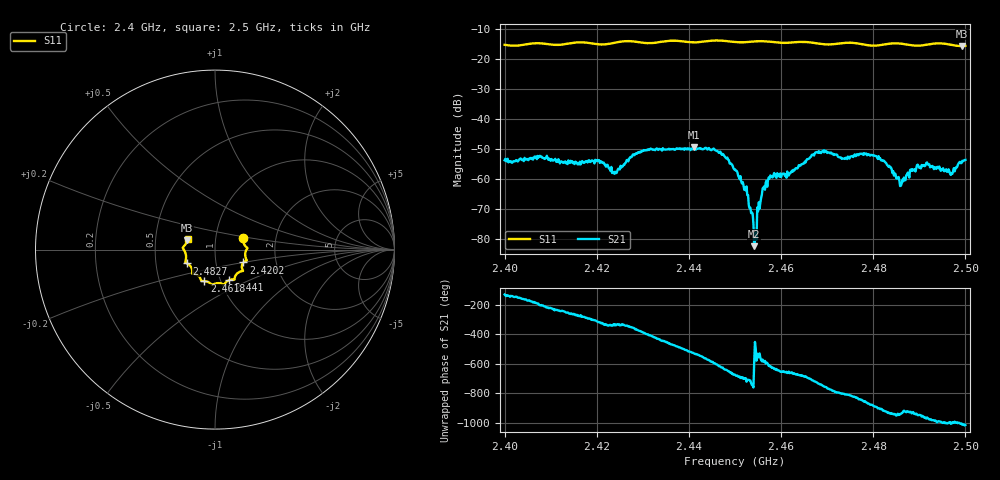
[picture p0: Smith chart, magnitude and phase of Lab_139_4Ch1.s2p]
# Hz S RI R 50
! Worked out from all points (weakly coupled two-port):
!   601 points, 2.4 GHz to 2.5 GHz, reference 50 ohm
!   highest |S21| = -49.58 dB at 2.4412 GHz (marker M1); lowest = -82.5 dB at 2.4542 GHz (marker M2)
!   lowest |S11| = -15.8 dB at 2.4993 GHz (marker M3), VSWR 1.39, Z = 36.5 + j3.84 ohm
!   |S11| at or under -10 dB: start of sweep to end of sweep
!   S12 and S22 are empty: the file has one direction only
!   S11 on the Smith chart (normalised r, x): 2.4 GHz: 1.36, +0.18; 2.4202 GHz: 1.36, -0.20; 2.441 GHz: 1.10, -0.39; 2.4618 GHz: 0.84, -0.30; 2.4827 GHz: 0.72, -0.11; 2.5 GHz: 0.73, +0.09
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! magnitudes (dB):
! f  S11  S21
! 2.4 GHz  -15.4  -53.9
! 2.4167 GHz  -14.5  -54.7
! 2.4202 GHz  -15.2  -53.8
! 2.4238 GHz  -14.7  -58.4
! 2.4283 GHz  -14.3  -51.8
! 2.4333 GHz  -14.5  -50.4
! 2.441 GHz  -14.6  -50.1
! 2.4412 GHz  -14.6  -49.6
! 2.4458 GHz  -13.9  -50.6
! 2.45 GHz  -14.4  -56.9
! 2.4523 GHz  -14.5  -63.9
! 2.4542 GHz  -14.2  -82.5
! 2.4572 GHz  -14.3  -60.4
! 2.4618 GHz  -14.6  -58.4
! 2.4667 GHz  -14.6  -52.1
! 2.4827 GHz  -15.2  -54.6
! 2.4833 GHz  -15.0  -56.1
! 2.4863 GHz  -15.1  -60.3
! 2.49 GHz  -15.6  -56.4
! 2.4972 GHz  -15.4  -58.4
! 2.4993 GHz  -15.8  -54.0
! 2.5 GHz  -15.7  -53.7
